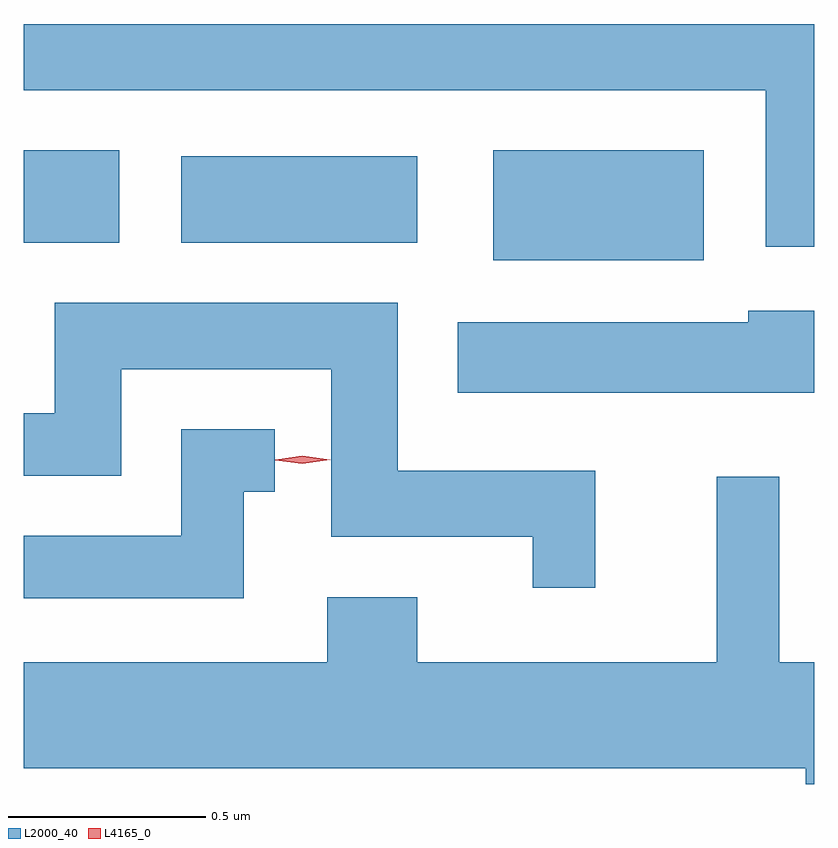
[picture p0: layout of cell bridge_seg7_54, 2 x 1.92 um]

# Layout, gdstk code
import gdstk
lib = gdstk.Library(unit=1e-6, precision=1e-09)
def R(c, l, rs):  # rectangles x0, y0, x1, y1
    for r in rs: c.add(gdstk.rectangle(r[:2], r[2:], *l))
def P(c, l, *ps):  # polygons
    for p in ps: c.add(gdstk.Polygon(p, *l))
L2000_40 = (2000, 40)
L4165_0 = (4165, 0)

bridge_seg7_54 = lib.new_cell('bridge_seg7_54')
R(bridge_seg7_54, L2000_40, [(1586.211,1755.561,1586.744,1755.839), (1585.023,1755.606,1585.264,1755.839), (1585.421,1755.606,1586.019,1755.824)])
P(bridge_seg7_54, L2000_40, [(1587.023,1756.159),(1585.023,1756.159),(1585.023,1755.991),(1586.901,1755.991),(1586.901,1755.596),(1587.023,1755.596)],
  [(1586.469,1755.029),(1585.969,1755.029),(1585.969,1755.454),(1585.101,1755.454),(1585.101,1755.174),(1585.023,1755.174),(1585.023,1755.016),(1585.269,1755.016),(1585.269,1755.286),(1585.801,1755.286),(1585.801,1754.861),(1586.311,1754.861),(1586.311,1754.733),(1586.469,1754.733)],
  [(1587.023,1755.434),(1586.856,1755.434),(1586.856,1755.404),(1586.121,1755.404),(1586.121,1755.226),(1587.023,1755.226)],
  [(1585.579,1754.976),(1585.658,1754.976),(1585.658,1755.134),(1585.421,1755.134),(1585.421,1754.864),(1585.023,1754.864),(1585.023,1754.706),(1585.579,1754.706)],
  [(1587.023,1754.544),(1586.934,1754.544),(1586.934,1755.013),(1586.776,1755.013),(1586.776,1754.544),(1586.019,1754.544),(1586.019,1754.709),(1585.791,1754.709),(1585.791,1754.544),(1585.023,1754.544),(1585.023,1754.276),(1587.001,1754.276),(1587.001,1754.236),(1587.023,1754.236)])
P(bridge_seg7_54, L4165_0, [(1585.728,1755.046),(1585.659,1755.055),(1585.659,1755.056),(1585.659,1755.056),(1585.728,1755.066),(1585.798,1755.057),(1585.798,1755.057),(1585.798,1755.056)])

lib.write_gds('bridge_seg7_54.gds')
